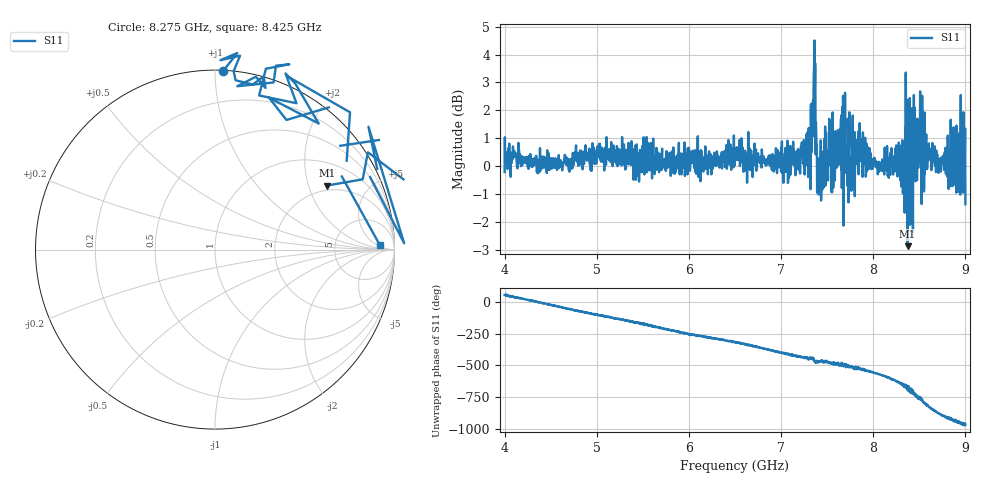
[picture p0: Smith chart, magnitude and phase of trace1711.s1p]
! Created with skrf 1.8.0 (http://scikit-rf.org).
# Hz S RI R 50.0
!freq ReS11 ImS11
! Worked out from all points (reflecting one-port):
!   1601 points, 4 GHz to 9 GHz, reference 50 ohm
!   lowest |S11| = -2.9 dB at 8.372 GHz (marker M1), VSWR 6.10, Z = 89.9 + j133 ohm
!   phase of S11 starts at 53 deg and turns -1016 deg over the sweep
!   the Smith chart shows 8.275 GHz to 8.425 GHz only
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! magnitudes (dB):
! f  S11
! 4 GHz  -0.2
! 4.1 GHz  0.3
! 4.625 GHz  -0.2
! 5.25 GHz  0.1
! 5.875 GHz  0.0
! 6.5 GHz  0.3
! 7.125 GHz  0.1
! 7.294 GHz  -0.4
! 7.328 GHz  0.5
! 7.347 GHz  2.4
! 7.378 GHz  1.6
! 7.4 GHz  0.3
! 7.416 GHz  -0.8
! 7.509 GHz  -0.5
! 7.559 GHz  1.9
! 7.65 GHz  1.7
! 7.75 GHz  -0.6
! 7.862 GHz  0.2
! 8.262 GHz  -0.4
! 8.316 GHz  0.9
! 8.372 GHz  -2.9
! 8.375 GHz  -0.8
! 8.412 GHz  0.5
! 8.519 GHz  1.4
! 8.575 GHz  1.1
! 8.812 GHz  0.3
! 8.959 GHz  1.6
! 9 GHz  -1.4
